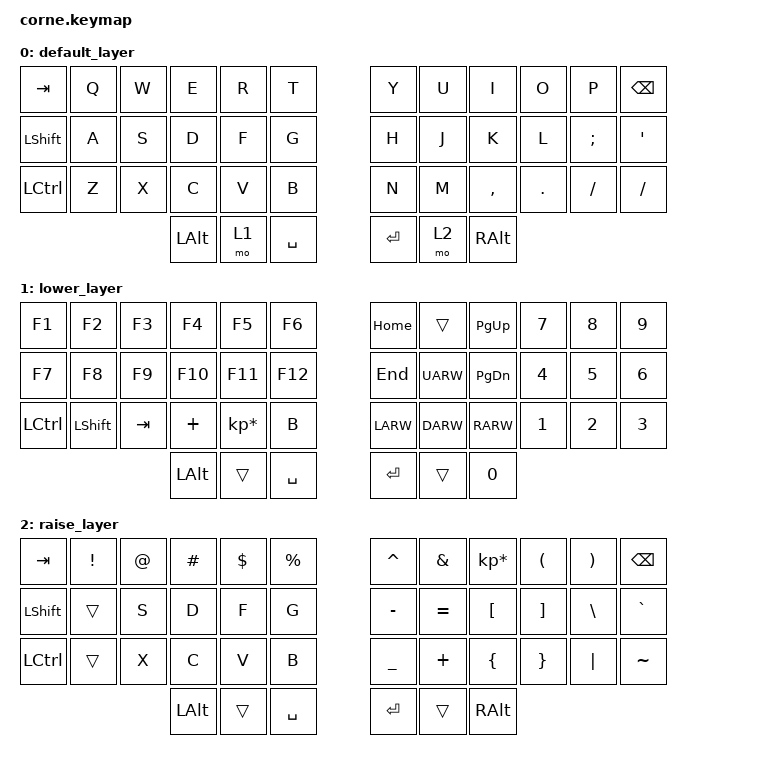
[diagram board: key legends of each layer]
/*
 * Copyright (c) 2020 The ZMK Contributors
 *
 * SPDX-License-Identifier: MIT
 */

#include <behaviors.dtsi>
#include <dt-bindings/zmk/keys.h>
#include <dt-bindings/zmk/bt.h>

/ {

        keymap {
                compatible = "zmk,keymap";
                default_layer {
                        bindings = <
                        //╭──────────┬──────────┬──────────┬──────────┬──────────┬──────────╮   ╭──────────┬──────────┬──────────┬──────────┬──────────┬──────────╮
                        //│  TAB     │  Q       │  W       │  E       │  R       │  T       │   │  Y       │  U       │  I       │  O       │  P       │  BKSP    │
                        &kp TAB    &kp Q      &kp W      &kp E      &kp R      &kp T          &kp Y      &kp U      &kp I      &kp O      &kp P      &kp BSPC
                        //├──────────┼──────────┼──────────┼──────────┼──────────┼──────────┤   ├──────────┼──────────┼──────────┼──────────┼──────────┼──────────┤
                        //│  SHFT    │  A       │  S       │  D       │  F       │  G       │   │  H       │  J       │  K       │  L       │  ;       │ ' "      │
                        &kp LSHFT   &kp A       &kp S      &kp D      &kp F     &kp G          &kp H      &kp J      &kp K       &kp L    &kp SEMI     &kp SQT
                        //├──────────┼──────────┼──────────┼──────────┼──────────┼──────────┤   ├──────────┼──────────┼──────────┼──────────┼──────────┼──────────┤
                        //│  CTRL    │  X       │  X       │  C       │  V       │  B       │   │  N       │  M       │ , <      │ . >      │ /        │ / ?      │
                        &kp LCTRL   &kp Z      &kp X      &kp C      &kp V      &kp B          &kp N      &kp M      &kp COMMA  &kp DOT    &kp FSLH    &kp FSLH
                        //╰──────────┴──────────┴──────────┴──────────┼──────────┼──────────┤   ├──────────┼──────────┼──────────┴──────────┴──────────┴──────────╯
                                                        &kp LALT    &mo 1     &kp SPACE      &kp ENTER   &mo 2     &kp RALT
                        //                                 ╰──────────┴──────────┴──────────╯   ╰──────────┴──────────┴──────────╯
                        >;
                };

                lower_layer {
                        bindings = <
                        //╭──────────┬──────────┬──────────┬──────────┬──────────┬──────────╮   ╭──────────┬──────────┬──────────┬──────────┬──────────┬──────────╮
                        //│  F1      │  F2      │  F3      │  F4      │  F5      │  F6      │   │  HOME    │          │ PAGE UP  │  7       │  8       │ 9        │
                        &kp F1     &kp F2     &kp F3     &kp F4      &kp F5    &kp F6         &kp HOME    &trans    &kp PG_UP  &kp N7      &kp N8     &kp N9
                        //├──────────┼──────────┼──────────┼──────────┼──────────┼──────────┤   ├──────────┼──────────┼──────────┼──────────┼──────────┼──────────┤
                        //│  F7      │  F8      │  F9      │  F10     │  F11     │  F12     │   │  END     │  UP      │  PAGE DN │  4       │  5       │ 6        │
                        &kp F7   &kp F8       &kp F9      &kp F10      &kp F11     &kp F12          &kp END   &kp UARW    &kp PG_DN   &kp N4    &kp N5     &kp N6
                        //├──────────┼──────────┼──────────┼──────────┼──────────┼──────────┤   ├──────────┼──────────┼──────────┼──────────┼──────────┼──────────┤
                        //│  CTRL    │  SHFT    │  TAB     │  +       │  -       │  *       │   │  LEFT    │  DOWN    │ RIGHT    │ 1        │ 2        │ 3        │
                        &kp LCTRL  &kp LSHFT   &kp TAB   &kp PLUS  &kp KP_MULTIPLY  &kp B      &kp LARW   &kp DARW   &kp RARW   &kp N1     &kp N2     &kp N3
                        //╰──────────┴──────────┴──────────┴──────────┼──────────┼──────────┤   ├──────────┼──────────┼──────────┴──────────┴──────────┴──────────╯
                                                        &kp LALT    &trans     &kp SPACE      &kp ENTER   &trans     &kp N0
                        //                                 ╰──────────┴──────────┴──────────╯   ╰──────────┴──────────┴──────────╯
                        >;
                };

                raise_layer {
                        bindings = <
                        //╭──────────┬──────────┬──────────┬──────────┬──────────┬──────────╮   ╭──────────┬──────────┬──────────┬──────────┬──────────┬──────────╮
                        //│  TAB     │  !       │  @       │  #       │  $       │  %       │   │  ^       │  &       │  *       │  (       │  )       │  BKSP    │
                        &kp TAB   &kp EXCL   &kp AT     &kp HASH   &kp DLLR    &kp PRCNT     &kp CARET  &kp AMPS &kp KP_MULTIPLY &kp LPAR  &kp RPAR  &kp BSPC
                        //├──────────┼──────────┼──────────┼──────────┼──────────┼──────────┤   ├──────────┼──────────┼──────────┼──────────┼──────────┼──────────┤
                        //│  SHFT    │          │  S       │  D       │  F       │  G       │   │  -       │  =       │  [       │  ]       │  \       │ `        │
                        &kp LSHFT   &trans       &kp S      &kp D      &kp F     &kp G        &kp MINUS   &kp EQUAL  &kp LBKT   &kp RBKT  &kp BSLH    &kp GRAVE
                        //├──────────┼──────────┼──────────┼──────────┼──────────┼──────────┤   ├──────────┼──────────┼──────────┼──────────┼──────────┼──────────┤
                        //│  CTRL    │          │  X       │  C       │  V       │  B       │   │  _       │  +       │   {      │   }      │   "|"    │   ~      │
                        &kp LCTRL   &trans      &kp X      &kp C      &kp V      &kp B        &kp UNDER   &kp PLUS   &kp LBRC  &kp RBRC    &kp PIPE    &kp TILDE
                        //╰──────────┴──────────┴──────────┴──────────┼──────────┼──────────┤   ├──────────┼──────────┼──────────┴──────────┴──────────┴──────────╯
                                                        &kp LALT    &trans     &kp SPACE      &kp ENTER   &trans     &kp RALT
                        //                                 ╰──────────┴──────────┴──────────╯   ╰──────────┴──────────┴──────────╯
                        >;
                };

   
        };
};
